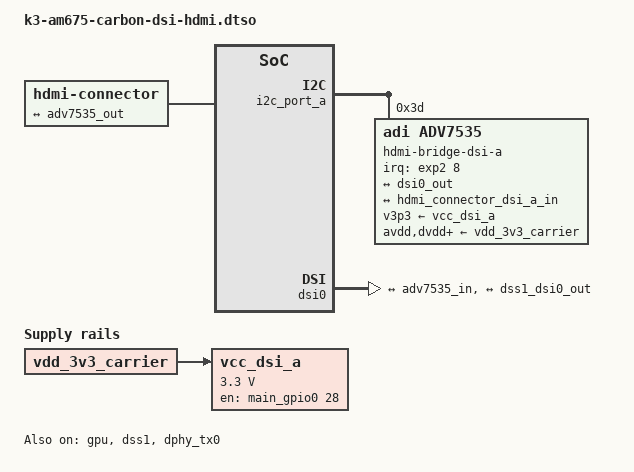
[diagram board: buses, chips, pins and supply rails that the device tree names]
// SPDX-License-Identifier: GPL-2.0-only OR MIT
/*
 * LVDS E to HDMI Expansion Board for Carbon AM67x
 *
 * Copyright (C) 2025 Ezurio LLC
 */

/dts-v1/;
/plugin/;

#include <dt-bindings/gpio/gpio.h>
#include <dt-bindings/interrupt-controller/irq.h>
#include "k3-pinctrl.h"

&{/} {
	hdmi-connector-dsi-a {
		compatible = "hdmi-connector";
		label = "hdmi";
		type = "a";

		port {
			hdmi_connector_dsi_a_in: endpoint {
				remote-endpoint = <&adv7535_out>;
			};
		};
	};

	vcc_dsi_a: regulator-vcc-dsi-a {
		compatible = "regulator-fixed";
		regulator-name = "vcc_dsi_a";
		regulator-min-microvolt = <3300000>;
		regulator-max-microvolt = <3300000>;

		vin-supply = <&vdd_3v3_carrier>;

		pinctrl-names = "default";
		pinctrl-0 = <&main_dsi_a_pwr_default>;
		gpios = <&main_gpio0 28 GPIO_ACTIVE_HIGH>;
		enable-active-high;
		startup-delay-us = <10000>;
		regulator-always-on;
	};
};

&i2c_port_a {
	hdmi-bridge-dsi-a@3d {
		compatible = "adi,adv7535";
		reg = <0x3d>;
		interrupts-extended = <&exp2 8 IRQ_TYPE_EDGE_FALLING>;
		adi,dsi-lanes = <4>;
		v3p3-supply = <&vcc_dsi_a>;

		avdd-supply = <&vdd_3v3_carrier>;
		dvdd-supply = <&vdd_3v3_carrier>;
		pvdd-supply = <&vdd_3v3_carrier>;
		a2vdd-supply = <&vdd_3v3_carrier>;
		v1p2-supply = <&vdd_3v3_carrier>;

		ports {
			#address-cells = <1>;
			#size-cells = <0>;

			port@0 {
				reg = <0>;

				adv7535_in: endpoint {
					remote-endpoint = <&dsi0_out>;
				};
			};

			port@1 {
				reg = <1>;

				adv7535_out: endpoint {
					remote-endpoint = <&hdmi_connector_dsi_a_in>;
				};
			};

		};
	};
};

&main_pmx0 {
	main_dsi_a_pwr_default: main-dsi-pwr-default-pins {
		pinctrl-single,pins = <
			J722S_IOPAD(0x070, PIN_INPUT, 7) /* DSI_VDD_EN (V24) GPMC0_AD13.GPIO0_28 */
		>;
	};
};

&gpu {
	status = "okay";
};

&dss1 {
	status = "okay";
};

&dss1_ports {
	#address-cells = <1>;
	#size-cells = <0>;

	/* Video Port 1 Output to DSI */
	port@1 {
		reg = <1>;
		dss1_dsi0_out: endpoint {
			remote-endpoint = <&dsi0_in>;
		};
	};
};

&dphy_tx0 {
	status = "okay";
};

&dsi0 {
	status = "okay";

	#address-cells = <1>;
	#size-cells = <0>;

	ports {
		#address-cells = <1>;
		#size-cells = <0>;

		port@0 {
			reg = <0>;

			dsi0_out: endpoint {
				remote-endpoint = <&adv7535_in>;
			};
		};

		port@1 {
			reg = <1>;

			dsi0_in: endpoint {
				remote-endpoint = <&dss1_dsi0_out>;
			};
		};
	};
};
